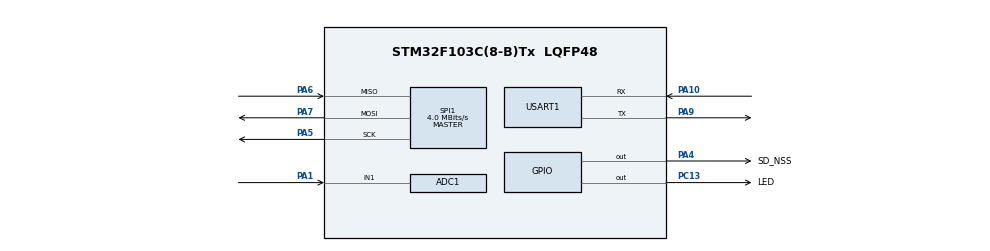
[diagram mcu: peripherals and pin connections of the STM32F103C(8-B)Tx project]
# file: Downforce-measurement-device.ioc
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ADC1.Channel-1\#ChannelRegularConversion=ADC_CHANNEL_1
ADC1.NbrOfConversionFlag=1
ADC1.Rank-1\#ChannelRegularConversion=1
ADC1.SamplingTime-1\#ChannelRegularConversion=ADC_SAMPLETIME_1CYCLE_5
ADC1.master=1
FATFS._FS_TINY=1
FREERTOS.Queues01=Queue_UART_RX,128,char,0,Dynamic,NULL,NULL;Queue_UART_TX,128,char,0,Dynamic,NULL,NULL
FREERTOS.Tasks01=ADC_LightSensor,24,512,Tsk_ADC_LightSensor,Default,NULL,Dynamic,NULL,NULL;UART_TX,8,128,Tsk_UART_TX,Default,NULL,Dynamic,NULL,NULL;LED,8,128,Tsk_LED,Default,NULL,Dynamic,NULL,NULL;UART_RX,8,128,Tsk_UART_RX,Default,NULL,Dynamic,NULL,NULL
FREERTOS.configCHECK_FOR_STACK_OVERFLOW=2
FREERTOS.configTOTAL_HEAP_SIZE=6144
Mcu.Family=STM32F1
Mcu.Name=STM32F103C(8-B)Tx
Mcu.Package=LQFP48
Mcu.UserConstants=HAL_SD_MODULE_ENABLED,1
NVIC.PriorityGroup=NVIC_PRIORITYGROUP_4
NVIC.TIM1_UP_IRQn=true\:0\:0\:false\:false\:true\:false\:false\:true
NVIC.TimeBase=TIM1_UP_IRQn
NVIC.TimeBaseIP=TIM1
NVIC.USART1_IRQn=true\:5\:0\:false\:false\:true\:true\:true\:true
PA1.Signal=ADCx_IN1
PA10.Mode=Asynchronous
PA10.Signal=USART1_RX
PA13.Mode=Serial_Wire
PA13.Signal=SYS_JTMS-SWDIO
PA14.Mode=Serial_Wire
PA14.Signal=SYS_JTCK-SWCLK
PA4.GPIO_Label=SD_NSS
PA4.GPIO_Speed=GPIO_SPEED_FREQ_HIGH
PA4.Signal=GPIO_Output
PA5.Mode=Full_Duplex_Master
PA5.Signal=SPI1_SCK
PA6.Mode=Full_Duplex_Master
PA6.Signal=SPI1_MISO
PA7.Mode=Full_Duplex_Master
PA7.Signal=SPI1_MOSI
PA9.Mode=Asynchronous
PA9.Signal=USART1_TX
PC13-TAMPER-RTC.GPIO_Label=LED
PC13-TAMPER-RTC.GPIO_Speed=GPIO_SPEED_FREQ_LOW
PC13-TAMPER-RTC.Signal=GPIO_Output
PC14-OSC32_IN.Mode=LSE-External-Oscillator
PC14-OSC32_IN.Signal=RCC_OSC32_IN
PC15-OSC32_OUT.Mode=LSE-External-Oscillator
PC15-OSC32_OUT.Signal=RCC_OSC32_OUT
PD0-OSC_IN.Mode=HSE-External-Oscillator
PD0-OSC_IN.Signal=RCC_OSC_IN
PD1-OSC_OUT.Mode=HSE-External-Oscillator
PD1-OSC_OUT.Signal=RCC_OSC_OUT
ProjectManager.HeapSize=0x200
ProjectManager.StackSize=0x400
ProjectManager.TargetToolchain=Makefile
RCC.APB1Freq_Value=8000000
RCC.APB1TimFreq_Value=8000000
RCC.APB2Freq_Value=8000000
RTC.Date=29
RTC.Hours=17
RTC.Month=RTC_MONTH_FEBRUARY
RTC.Seconds=30
RTC.WeekDay=RTC_WEEKDAY_SATURDAY
RTC.Year=20
SH.ADCx_IN1.0=ADC1_IN1,IN1
SPI1.CLKPolarity=SPI_POLARITY_LOW
SPI1.CalculateBaudRate=4.0 MBits/s
SPI1.Direction=SPI_DIRECTION_2LINES
SPI1.Mode=SPI_MODE_MASTER
SPI1.VirtualType=VM_MASTER
USART1.VirtualMode=VM_ASYNC
VP_FATFS_VS_Generic.Mode=User_defined
VP_FREERTOS_VS_CMSIS_V2.Mode=CMSIS_V2
VP_RTC_No_RTC_Output.Mode=RTC_OUT_NO
VP_RTC_VS_RTC_Activate.Mode=RTC_Enabled
VP_SYS_VS_tim1.Mode=TIM1
board=custom

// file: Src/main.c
/* USER CODE BEGIN Header */
/**
  ******************************************************************************
  * @file           : main.c
  * @brief          : Main program body
  ******************************************************************************
  * @attention
  *
  * <h2><center>&copy; Copyright (c) 2020 STMicroelectronics.
  * All rights reserved.</center></h2>
  *
  * This software component is licensed by ST under Ultimate Liberty license
  * SLA0044, the "License"; You may not use this file except in compliance with
  * the License. You may obtain a copy of the License at:
  *                             www.st.com/SLA0044
  *
  ******************************************************************************
  */
/* USER CODE END Header */

#include "main.h"
#include "cmsis_os.h"
#include "fatfs.h"

/* USER CODE BEGIN Includes */
#include <stdio.h>
#include <string.h>
#include "sd_io.h"
#include "ADC.h"
#include "UART.h"
/* USER CODE END Includes */

ADC_HandleTypeDef hadc1;

RTC_HandleTypeDef hrtc;

SPI_HandleTypeDef hspi1;

UART_HandleTypeDef huart1;

/* Definitions for ADC_LightSensor */
osThreadId_t ADC_LightSensorHandle;
const osThreadAttr_t ADC_LightSensor_attributes = {
  .name = "ADC_LightSensor",
  .priority = (osPriority_t) osPriorityNormal,
  .stack_size = 512
};
/* Definitions for UART_TX */
osThreadId_t UART_TXHandle;
const osThreadAttr_t UART_TX_attributes = {
  .name = "UART_TX",
  .priority = (osPriority_t) osPriorityLow,
  .stack_size = 128
};
/* Definitions for LED */
osThreadId_t LEDHandle;
const osThreadAttr_t LED_attributes = {
  .name = "LED",
  .priority = (osPriority_t) osPriorityLow,
  .stack_size = 128
};
/* Definitions for UART_RX */
osThreadId_t UART_RXHandle;
const osThreadAttr_t UART_RX_attributes = {
  .name = "UART_RX",
  .priority = (osPriority_t) osPriorityLow,
  .stack_size = 128
};
/* Definitions for Queue_UART_RX */
osMessageQueueId_t Queue_UART_RXHandle;
const osMessageQueueAttr_t Queue_UART_RX_attributes = {
  .name = "Queue_UART_RX"
};
/* Definitions for Queue_UART_TX */
osMessageQueueId_t Queue_UART_TXHandle;
const osMessageQueueAttr_t Queue_UART_TX_attributes = {
  .name = "Queue_UART_TX"
};

void SystemClock_Config(void);
static void MX_GPIO_Init(void);
static void MX_USART1_UART_Init(void);
static void MX_ADC1_Init(void);
static void MX_RTC_Init(void);
static void MX_SPI1_Init(void);
void Tsk_ADC_LightSensor(void *argument);
void Tsk_UART_TX(void *argument);
void Tsk_LED(void *argument);
void Tsk_UART_RX(void *argument);

int main(void)
{
  /* USER CODE BEGIN 1 */
  SD_DEV dev[1];
  char write_buffer[512] = "New uSD card test message.\n";
  char read_buffer[512] = {0};
  /* USER CODE END 1 */

  /* MCU Configuration--------------------------------------------------------*/

  /* Reset of all peripherals, Initializes the Flash interface and the Systick. */
  HAL_Init();

  /* Configure the system clock */
  SystemClock_Config();

  /* Initialize all configured peripherals */
  MX_GPIO_Init();
  MX_USART1_UART_Init();
  MX_ADC1_Init();
  MX_RTC_Init();
  MX_SPI1_Init();
  MX_FATFS_Init();
  /* USER CODE BEGIN 2 */
  if ( SD_Init(dev) != SD_OK )
  {
      Error_Handler();
  }
  if ( SD_Write(dev, (void *)write_buffer, 0) != SD_OK )
  {
      Error_Handler();
  }
  if ( SD_Read(dev, (void *)read_buffer, 0, 0, 512) != SD_OK )
  {
      Error_Handler();
  }
  uint8_t read_buffer_size = (uint8_t)strlen(read_buffer);
  HAL_UART_Transmit(&huart1, (uint8_t *)read_buffer, read_buffer_size, HAL_MAX_DELAY);

  if ( retUSER == 0 )
  {
      strcpy(&write_buffer[0], "retUSR = 0; FATFS_LinkDriver returned okay.\n");
      HAL_UART_Transmit(&huart1, (uint8_t *)write_buffer, (uint8_t)strlen(write_buffer), HAL_MAX_DELAY);
  }
  /* USER CODE END 2 */
  /* Init scheduler */
  osKernelInitialize();

  /* Create the queue(s) */
  /* creation of Queue_UART_RX */
  Queue_UART_RXHandle = osMessageQueueNew (128, sizeof(char), &Queue_UART_RX_attributes);

  /* creation of Queue_UART_TX */
  Queue_UART_TXHandle = osMessageQueueNew (128, sizeof(char), &Queue_UART_TX_attributes);

  /* Create the thread(s) */
  /* creation of ADC_LightSensor */
  ADC_LightSensorHandle = osThreadNew(Tsk_ADC_LightSensor, NULL, &ADC_LightSensor_attributes);

  /* creation of UART_TX */
  UART_TXHandle = osThreadNew(Tsk_UART_TX, NULL, &UART_TX_attributes);

  /* creation of LED */
  LEDHandle = osThreadNew(Tsk_LED, NULL, &LED_attributes);

  /* creation of UART_RX */
  UART_RXHandle = osThreadNew(Tsk_UART_RX, NULL, &UART_RX_attributes);

  /* Start scheduler */
  osKernelStart();

  /* We should never get here as control is now taken by the scheduler */

  /* Infinite loop */
  while (1)
  {

  }
}

void SystemClock_Config(void)
{
  RCC_OscInitTypeDef RCC_OscInitStruct = {0};
  RCC_ClkInitTypeDef RCC_ClkInitStruct = {0};
  RCC_PeriphCLKInitTypeDef PeriphClkInit = {0};

  /** Initializes the CPU, AHB and APB busses clocks
  */
  RCC_OscInitStruct.OscillatorType = RCC_OSCILLATORTYPE_HSI|RCC_OSCILLATORTYPE_LSI;
  RCC_OscInitStruct.HSIState = RCC_HSI_ON;
  RCC_OscInitStruct.HSICalibrationValue = RCC_HSICALIBRATION_DEFAULT;
  RCC_OscInitStruct.LSIState = RCC_LSI_ON;
  RCC_OscInitStruct.PLL.PLLState = RCC_PLL_NONE;
  if (HAL_RCC_OscConfig(&RCC_OscInitStruct) != HAL_OK)
  {
    Error_Handler();
  }
  /** Initializes the CPU, AHB and APB busses clocks
  */
  RCC_ClkInitStruct.ClockType = RCC_CLOCKTYPE_HCLK|RCC_CLOCKTYPE_SYSCLK
                              |RCC_CLOCKTYPE_PCLK1|RCC_CLOCKTYPE_PCLK2;
  RCC_ClkInitStruct.SYSCLKSource = RCC_SYSCLKSOURCE_HSI;
  RCC_ClkInitStruct.AHBCLKDivider = RCC_SYSCLK_DIV1;
  RCC_ClkInitStruct.APB1CLKDivider = RCC_HCLK_DIV1;
  RCC_ClkInitStruct.APB2CLKDivider = RCC_HCLK_DIV1;

  if (HAL_RCC_ClockConfig(&RCC_ClkInitStruct, FLASH_LATENCY_0) != HAL_OK)
  {
    Error_Handler();
  }
  PeriphClkInit.PeriphClockSelection = RCC_PERIPHCLK_RTC|RCC_PERIPHCLK_ADC;
  PeriphClkInit.RTCClockSelection = RCC_RTCCLKSOURCE_LSI;
  PeriphClkInit.AdcClockSelection = RCC_ADCPCLK2_DIV2;
  if (HAL_RCCEx_PeriphCLKConfig(&PeriphClkInit) != HAL_OK)
  {
    Error_Handler();
  }
}

static void MX_ADC1_Init(void)
{

  ADC_ChannelConfTypeDef sConfig = {0};

  /** Common config
  */
  hadc1.Instance = ADC1;
  hadc1.Init.ScanConvMode = ADC_SCAN_DISABLE;
  hadc1.Init.ContinuousConvMode = DISABLE;
  hadc1.Init.DiscontinuousConvMode = DISABLE;
  hadc1.Init.ExternalTrigConv = ADC_SOFTWARE_START;
  hadc1.Init.DataAlign = ADC_DATAALIGN_RIGHT;
  hadc1.Init.NbrOfConversion = 1;
  if (HAL_ADC_Init(&hadc1) != HAL_OK)
  {
    Error_Handler();
  }
  /** Configure Regular Channel
  */
  sConfig.Channel = ADC_CHANNEL_1;
  sConfig.Rank = ADC_REGULAR_RANK_1;
  sConfig.SamplingTime = ADC_SAMPLETIME_1CYCLE_5;
  if (HAL_ADC_ConfigChannel(&hadc1, &sConfig) != HAL_OK)
  {
    Error_Handler();
  }

}

static void MX_RTC_Init(void)
{

  RTC_TimeTypeDef sTime = {0};
  RTC_DateTypeDef DateToUpdate = {0};

  /** Initialize RTC Only
  */
  hrtc.Instance = RTC;
  hrtc.Init.AsynchPrediv = RTC_AUTO_1_SECOND;
  hrtc.Init.OutPut = RTC_OUTPUTSOURCE_NONE;
  if (HAL_RTC_Init(&hrtc) != HAL_OK)
  {
    Error_Handler();
  }

  /** Initialize RTC and set the Time and Date
  */
  sTime.Hours = 0x17;
  sTime.Minutes = 0x0;
  sTime.Seconds = 0x30;

  if (HAL_RTC_SetTime(&hrtc, &sTime, RTC_FORMAT_BCD) != HAL_OK)
  {
    Error_Handler();
  }
  DateToUpdate.WeekDay = RTC_WEEKDAY_SATURDAY;
  DateToUpdate.Month = RTC_MONTH_FEBRUARY;
  DateToUpdate.Date = 0x29;
  DateToUpdate.Year = 0x20;

  if (HAL_RTC_SetDate(&hrtc, &DateToUpdate, RTC_FORMAT_BCD) != HAL_OK)
  {
    Error_Handler();
  }

}

static void MX_SPI1_Init(void)
{

  /* SPI1 parameter configuration*/
  hspi1.Instance = SPI1;
  hspi1.Init.Mode = SPI_MODE_MASTER;
  hspi1.Init.Direction = SPI_DIRECTION_2LINES;
  hspi1.Init.DataSize = SPI_DATASIZE_8BIT;
  hspi1.Init.CLKPolarity = SPI_POLARITY_LOW;
  hspi1.Init.CLKPhase = SPI_PHASE_1EDGE;
  hspi1.Init.NSS = SPI_NSS_SOFT;
  hspi1.Init.BaudRatePrescaler = SPI_BAUDRATEPRESCALER_2;
  hspi1.Init.FirstBit = SPI_FIRSTBIT_MSB;
  hspi1.Init.TIMode = SPI_TIMODE_DISABLE;
  hspi1.Init.CRCCalculation = SPI_CRCCALCULATION_DISABLE;
  hspi1.Init.CRCPolynomial = 10;
  if (HAL_SPI_Init(&hspi1) != HAL_OK)
  {
    Error_Handler();
  }

}

static void MX_USART1_UART_Init(void)
{

  huart1.Instance = USART1;
  huart1.Init.BaudRate = 115200;
  huart1.Init.WordLength = UART_WORDLENGTH_8B;
  huart1.Init.StopBits = UART_STOPBITS_1;
  huart1.Init.Parity = UART_PARITY_NONE;
  huart1.Init.Mode = UART_MODE_TX_RX;
  huart1.Init.HwFlowCtl = UART_HWCONTROL_NONE;
  huart1.Init.OverSampling = UART_OVERSAMPLING_16;
  if (HAL_UART_Init(&huart1) != HAL_OK)
  {
    Error_Handler();
  }

}

static void MX_GPIO_Init(void)
{
  GPIO_InitTypeDef GPIO_InitStruct = {0};

  /* GPIO Ports Clock Enable */
  __HAL_RCC_GPIOC_CLK_ENABLE();
  __HAL_RCC_GPIOD_CLK_ENABLE();
  __HAL_RCC_GPIOA_CLK_ENABLE();

  /*Configure GPIO pin Output Level */
  HAL_GPIO_WritePin(LED_GPIO_Port, LED_Pin, GPIO_PIN_RESET);

  /*Configure GPIO pin Output Level */
  HAL_GPIO_WritePin(SD_NSS_GPIO_Port, SD_NSS_Pin, GPIO_PIN_RESET);

  /*Configure GPIO pin : LED_Pin */
  GPIO_InitStruct.Pin = LED_Pin;
  GPIO_InitStruct.Mode = GPIO_MODE_OUTPUT_PP;
  GPIO_InitStruct.Pull = GPIO_NOPULL;
  GPIO_InitStruct.Speed = GPIO_SPEED_FREQ_LOW;
  HAL_GPIO_Init(LED_GPIO_Port, &GPIO_InitStruct);

  /*Configure GPIO pin : SD_NSS_Pin */
  GPIO_InitStruct.Pin = SD_NSS_Pin;
  GPIO_InitStruct.Mode = GPIO_MODE_OUTPUT_PP;
  GPIO_InitStruct.Pull = GPIO_NOPULL;
  GPIO_InitStruct.Speed = GPIO_SPEED_FREQ_HIGH;
  HAL_GPIO_Init(SD_NSS_GPIO_Port, &GPIO_InitStruct);

}

void Tsk_ADC_LightSensor(void *argument)
{
  /* USER CODE BEGIN 5 */

  /* Infinite loop */
  for(;;)
  {
    Thread_ADC_LightSensor();
  }
  /* USER CODE END 5 */
}

void Tsk_UART_TX(void *argument)
{
  /* USER CODE BEGIN Tsk_UART_TX */

  /* Infinite loop */
  for(;;)
  {
      Thread_UART_TX();
  }
  /* USER CODE END Tsk_UART_TX */
}

void Tsk_LED(void *argument)
{
  /* USER CODE BEGIN Tsk_LED */
  //volatile uint32_t * GPIOC_BSRR = (uint32_t *) 0x40011010;
  //volatile uint32_t * GPIOC_BRR = (uint32_t *) 0x40011014;
  /* Infinite loop */
  for(;;)
  {
    /*
    *GPIOC_BRR |= (0x1 << 13);
    osDelay(500);
    *GPIOC_BSRR |= (0x1 << 13);
    osDelay(500);
    */
  }
  /* USER CODE END Tsk_LED */
}

void Tsk_UART_RX(void *argument)
{
  /* USER CODE BEGIN Tsk_UART_RX */

  /* Infinite loop */
  for(;;)
  {
      Thread_UART_RX();
  }
  /* USER CODE END Tsk_UART_RX */
}

void HAL_TIM_PeriodElapsedCallback(TIM_HandleTypeDef *htim)
{
  if (htim->Instance == TIM1) {
    HAL_IncTick();
  }
}

void Error_Handler(void)
{
  /* USER CODE BEGIN Error_Handler_Debug */
  /* User can add his own implementation to report the HAL error return state */
  for (;;);
  /* USER CODE END Error_Handler_Debug */
}

/************************ (C) COPYRIGHT STMicroelectronics *****END OF FILE****/
